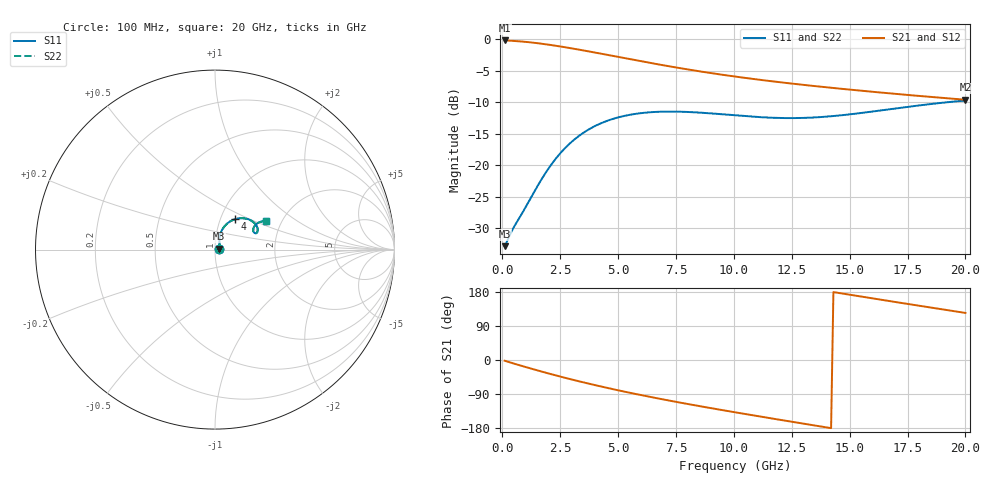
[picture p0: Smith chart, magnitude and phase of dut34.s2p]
! Touchstone file exported from HFSS 2024.1.0
!  File:  C:/UserFiles/LocalFiles/RDL_TSV_Batchsim/temp_RDL_TSV_34_1779403058.aedt
!  Generated:  06:53:58 AM May 22, 2026
!  Design:  RDL_TSV
!  Project:  temp_RDL_TSV_34_1779403058
!  Setup:  Setup1
!  Solution:  Sweep
! Variables:
!  dtsv = 9.25um
!  hbump = 3um
!  htsv = 55um
!  ldown = 335.76um
!  lrdl = 686.34um
!  p = 40
!  p1 = 43.75um
!  rhole = 10um
!  subl = 3752.64um
!  t = 450um
!  tdown = 4.36um
!  trdl = 2.45um
!  viad = 10um
!  wdown = 17.57um
!  wrdl = 23.09um
!  xbump = 18um
# GHz S MA R 50.000000
! Terminal data exported
! Port[1] = TM1_1_T1
! Port[2] = TM1_4_T1
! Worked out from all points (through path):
!   200 points, 100 MHz to 20 GHz, reference 50 ohm
!   highest |S21| = -0.20 dB at 100 MHz (marker M1); lowest = -9.6 dB at 20 GHz (marker M2)
!   group delay of S21, straight-line fit = 31.2 ps
!   lowest |S11| = -32.8 dB at 100 MHz (marker M3), VSWR 1.05, Z = 52.3 + j0.504 ohm
!   |S11| at or under -10 dB: start of sweep to 19.2 GHz
!   |S22| runs from -32.8 to -9.7 dB; largest |S21 - S12| = 9.7e-15
!   S11 on the Smith chart (normalised r, x): 100 MHz: 1.05, +0.01; 4 GHz: 1.18, +0.42; 20 GHz: 1.67, +0.59
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0.1  0.02288 12.2  0.9774 -1.9  0.9774 -1.9  0.02288 12.2
! Gamma 0 0 0 0
! Port Impedance 50 0 50 0
0.5  0.03239 39.2  0.9692 -9.4  0.9692 -9.4  0.03239 39.2
0.9  0.04308 54.4  0.9566 -16.7  0.9566 -16.7  0.0431 54.4
1.4  0.06262 66.7  0.9358 -25.4  0.9358 -25.4  0.06266 66.6
1.8  0.08325 70.6  0.9159 -32.2  0.9159 -32.2  0.08329 70.5
2.2  0.1064 70.9  0.8938 -38.8  0.8938 -38.8  0.1065 70.8
2.6  0.1305 69.0  0.8704 -45.3  0.8704 -45.3  0.1305 68.9
3.5  0.1811 61.2  0.8151 -59.0  0.8151 -59.0  0.181 61.1
4  0.2047 56.3  0.7841 -66.2  0.7841 -66.2  0.2045 56.1
4.6  0.2278 50.3  0.7476 -74.6  0.7476 -74.6  0.2275 50.2
5.2  0.245 44.8  0.7125 -82.5  0.7125 -82.5  0.2446 44.6
6  0.2595 38.1  0.6687 -92.7  0.6687 -92.7  0.2591 38.0
6.8  0.2661 32.6  0.6287 -102.3  0.6287 -102.3  0.2655 32.5
7.6  0.2665 28.2  0.5928 -111.6  0.5928 -111.6  0.2658 28.1
8.4  0.2628 24.9  0.5608 -120.4  0.5608 -120.4  0.262 24.8
10.1  0.2487 21.8  0.5044 -138.5  0.5044 -138.5  0.2478 21.7
11.7  0.2383 23.1  0.4626 -154.9  0.4626 -154.9  0.2373 23.0
13.4  0.2393 26.9  0.4268 -171.9  0.4268 -171.9  0.2383 27.0
15  0.2536 30.3  0.3985 172.3  0.3985 172.3  0.2526 30.4
16.7  0.278 31.8  0.3726 155.7  0.3726 155.7  0.2771 31.9
18.3  0.3032 31.1  0.3513 140.3  0.3513 140.3  0.3023 31.2
20  0.3266 28.7  0.3315 124.2  0.3315 124.2  0.3258 28.8
